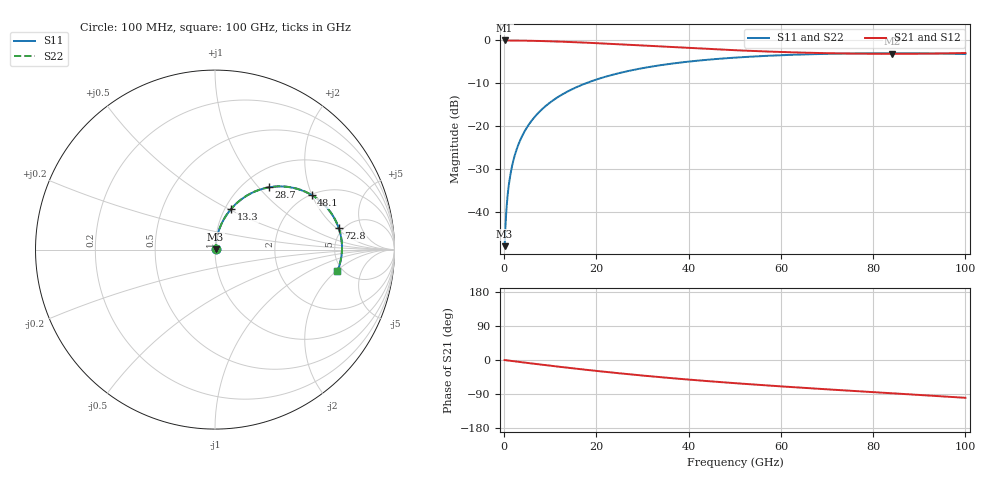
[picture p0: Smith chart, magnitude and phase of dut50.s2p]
! Touchstone file exported from HFSS 2026.1.0
!  File:  C:/ffzhzh/LocalFiles/Ansys_Project_Files/temp_train_RDL_50_1783498281_55944.aedt
!  Generated:  04:12:27 PM Jul  8, 2026
!  Design:  RDL
!  Project:  temp_train_RDL_50_1783498281_55944
! Variables:
!  h_bsmrdl = 2um
!  h_ox = 20um
!  h_rdl = 5um
!  h_sub = 80um
!  h_tmrdl = 3.6um
!  h_tsv = 80um
!  h_via = 3um
!  l_bsmrdl = 300um
!  l_sub = 741.94um
!  l_tmrdl = 341.94um
!  m_sub = 200um
!  pitch = 43.66um
!  r_tsv = 6um
!  s_tmrdl = 10um
!  w_bsmrdl = 18um
!  w_sub = 500um
!  w_tmrdl = 10.13um
!  x_tsv_center1 = 347.005um
!  x_tsv_center2 = 665.005um
!  x_tsv_center3 = 1017.075um
!  x_tsv_center4 = 1335.075um
!  x_tsv_center5 = 1687.145um
!  x_tsv_center6 = 2005.145um
# GHz S MA R 50.000000
! Terminal data exported
! Port[1] = TM_RDL1_1_T1
! Port[2] = TM_RDL1_1_T2
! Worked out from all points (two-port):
!   1000 points, 100 MHz to 100 GHz, reference 50 ohm
!   highest |S21| = -0.03 dB at 100 MHz (marker M1); lowest = -3.1 dB at 84.1 GHz (marker M2)
!   |S21| within 3 dB of the highest: start of sweep to 71.47 GHz; 96.74 GHz to end of sweep
!   lowest |S11| = -48.0 dB at 100 MHz (marker M3), VSWR 1.01, Z = 50.3 + j0.204 ohm
!   |S11| at or under -10 dB: start of sweep to 17.79 GHz
!   |S22| runs from -48.0 to -3.0 dB; largest |S21 - S12| = 5.1e-15
!   S11 on the Smith chart (normalised r, x): 100 MHz: 1.01, +0.00; 13.3 GHz: 1.07, +0.52; 28.7 GHz: 1.30, +1.14; 48.1 GHz: 2.02, +1.99; 72.8 GHz: 4.63, +2.15; 100 GHz: 4.47, -2.09
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0.1  0.003958 30.8  0.9966 -0.2  0.9966 -0.2  0.003958 30.8
! Gamma 0 0 0 0
! Port Impedance 50 0 50 0
0.4  0.008816 65.9  0.9965 -0.6  0.9965 -0.6  0.008816 65.9
0.9  0.01832 76.8  0.9961 -1.4  0.9961 -1.4  0.01832 76.8
1.4  0.02798 79.8  0.9957 -2.2  0.9957 -2.2  0.02798 79.9
1.8  0.03574 80.8  0.9954 -2.8  0.9954 -2.8  0.03574 80.8
2.3  0.04545 81.2  0.9949 -3.5  0.9949 -3.5  0.04545 81.2
3.5  0.06866 80.9  0.9931 -5.4  0.9931 -5.4  0.06866 80.9
5.2  0.1011 79.1  0.9897 -8.0  0.9897 -8.0  0.1011 79.1
7.4  0.1422 76.3  0.9837 -11.2  0.9837 -11.2  0.1422 76.3
10.1  0.1907 72.6  0.9743 -15.2  0.9743 -15.2  0.1907 72.6
13.3  0.2453 68.2  0.9609 -19.7  0.9609 -19.7  0.2453 68.3
16.8  0.3012 63.6  0.944 -24.6  0.944 -24.6  0.3012 63.6
22.2  0.3791 56.8  0.9147 -31.6  0.9147 -31.6  0.3791 56.8
28.7  0.4591 49.1  0.877 -39.5  0.877 -39.5  0.4591 49.1
33.4  0.5079 43.9  0.8498 -44.8  0.8498 -44.8  0.5079 43.9
48.1  0.6179 29.5  0.7747 -59.4  0.7747 -59.4  0.6178 29.6
50.1  0.6286 27.7  0.7662 -61.2  0.7662 -61.2  0.6286 27.8
66.7  0.6887 14.3  0.7142 -74.9  0.7142 -74.9  0.6887 14.4
72.8  0.6999 9.8  0.7036 -79.5  0.7036 -79.5  0.6999 9.9
83.4  0.7079 2.0  0.696 -87.3  0.696 -87.3  0.7078 2.2
84.1  0.7079 1.5  0.6959 -87.9  0.6959 -87.9  0.7079 1.7
100  0.692 -10.1  0.7112 -99.8  0.7112 -99.8  0.692 -10.0
